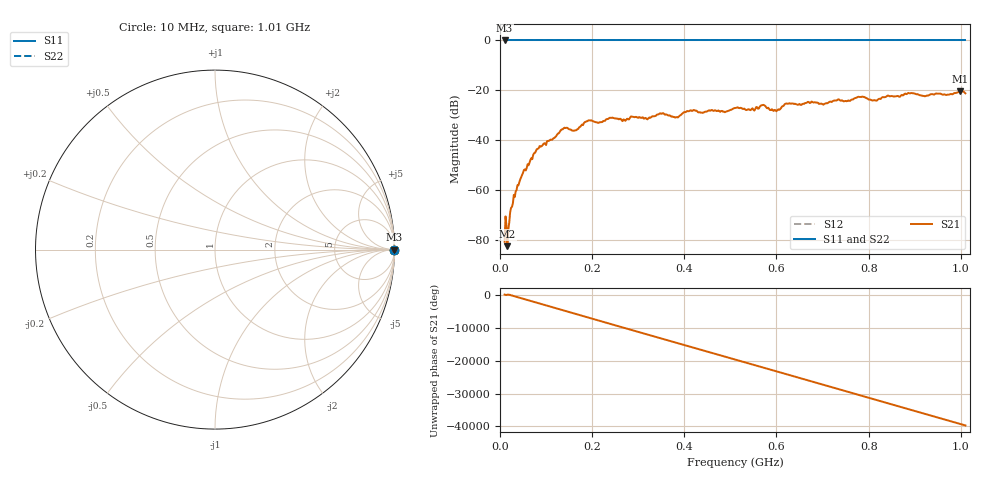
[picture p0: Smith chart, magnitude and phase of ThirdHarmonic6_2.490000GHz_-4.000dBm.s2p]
! 8/17/2025 4:42:13 AM
! C:\ANRITSUVNA\TEMP\TEMP.S2P
! CHANNEL.1
! TR.MEASUREMENT
! RAW.DATA
! RF.CORRECTION.OFF
! AVERAGING.OFF
! IF.BANDWIDTH: 5KHZ
! SWEEPTYPE:  FREQ.SWEEP(Linear)
! Reference Plane Port Info
! PORT:  PORT1  PORT2
! DISTANCE:  0  m  0  m
! TIME:  0  s  0  s
! PHASE.OFFSET:  0  deg.  0  deg.
! LOSS:  0  dB  0  dB
! REF.LOSS:  0  dB  0  dB
! REF.FREQ:  0  Hz  0  Hz
! Power Info
! POWER:  -20  dBm  -20  dBm
! EFF.POWER:  -20  dBm  -20  dBm
! SOURCE.ATTEN:  0  dB  0  dB
! TEST.ATTEN:  0  dB  0  dB
# GHZ S RI R 50.0
! FREQ.GHZ  S11RE  S11IM  S21RE  S21IM  S12RE  S12IM  S22RE  S22IM
!; PortSelection: Port_12
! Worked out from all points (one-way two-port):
!   501 points, 10 MHz to 1.01 GHz, reference 50 ohm
!   highest |S21| = -20.31 dB at 998 MHz (marker M1); lowest = -82.5 dB at 16 MHz (marker M2)
!   lowest |S11| = 0.0 dB at 10 MHz (marker M3)
!   |S11| at or under -10 dB: nowhere
!   |S22| runs from 0.0 to 0.0 dB; largest |S21 - S12| = 1.1
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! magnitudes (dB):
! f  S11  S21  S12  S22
! 10 MHz  0.0  -80.7  0.0  0.0
! 16 MHz  0.0  -82.5  0.0  0.0
! 20 MHz  0.0  -73.1  0.0  0.0
! 26 MHz  0.0  -66.7  0.0  0.0
! 34 MHz  0.0  -60.6  0.0  0.0
! 50 MHz  0.0  -53.0  0.0  0.0
! 76 MHz  0.0  -45.1  0.0  0.0
! 136 MHz  0.0  -35.6  0.0  0.0
! 162 MHz  0.0  -36.1  0.0  0.0
! 178 MHz  0.0  -33.7  0.0  0.0
! 194 MHz  0.0  -32.0  0.0  0.0
! 344 MHz  0.0  -29.6  0.0  0.0
! 382 MHz  0.0  -30.8  0.0  0.0
! 410 MHz  0.0  -28.4  0.0  0.0
! 510 MHz  0.0  -27.1  0.0  0.0
! 570 MHz  0.0  -25.9  0.0  0.0
! 598 MHz  0.0  -28.0  0.0  0.0
! 622 MHz  0.0  -25.3  0.0  0.0
! 678 MHz  0.0  -24.6  0.0  0.0
! 844 MHz  0.0  -22.2  0.0  0.0
! 998 MHz  0.0  -20.3  0.0  0.0
! 1.01 GHz  0.0  -21.2  0.0  0.0
